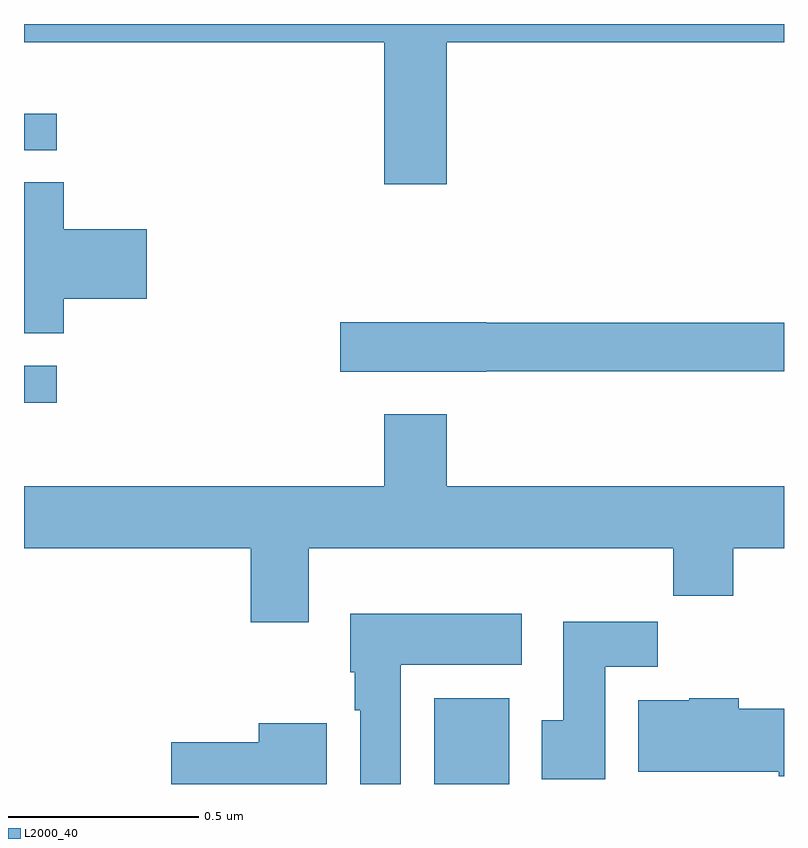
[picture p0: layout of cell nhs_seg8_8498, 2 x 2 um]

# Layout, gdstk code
import gdstk
lib = gdstk.Library(unit=1e-6, precision=1e-09)
def R(c, l, rs):  # rectangles x0, y0, x1, y1
    for r in rs: c.add(gdstk.rectangle(r[:2], r[2:], *l))
def P(c, l, *ps):  # polygons
    for p in ps: c.add(gdstk.Polygon(p, *l))
L2000_40 = (2000, 40)

nhs_seg8_8498 = lib.new_cell('nhs_seg8_8498')
R(nhs_seg8_8498, L2000_40, [(225.08,1095.9,225.277,1096.126), (224,1096.903,224.086,1097.001), (224,1097.568,224.086,1097.664)])
P(nhs_seg8_8498, L2000_40, [(225.112,1097.852),(226,1097.852),(226,1097.9),(224,1097.9),(224,1097.852),(224.948,1097.852),(224.948,1097.478),(225.112,1097.478)],
  [(224.105,1097.177),(224.323,1097.177),(224.323,1097.36),(224.105,1097.36),(224.105,1097.483),(224,1097.483),(224,1097.086),(224.105,1097.086)],
  [(225.216,1096.986),(226,1096.986),(226,1097.114),(225.216,1097.114),(225.216,1097.115),(224.832,1097.115),(224.832,1096.985),(225.216,1096.985)],
  [(224.749,1096.52),(225.709,1096.52),(225.709,1096.396),(225.866,1096.396),(225.866,1096.52),(226,1096.52),(226,1096.684),(225.112,1096.684),(225.112,1096.873),(224.948,1096.873),(224.948,1096.684),(224,1096.684),(224,1096.52),(224.597,1096.52),(224.597,1096.326),(224.749,1096.326)],
  [(224.992,1096.214),(225.31,1096.214),(225.31,1096.348),(224.858,1096.348),(224.858,1096.194),(224.87,1096.194),(224.87,1096.094),(224.885,1096.094),(224.885,1095.9),(224.992,1095.9)],
  [(225.529,1096.208),(225.668,1096.208),(225.668,1096.327),(225.419,1096.327),(225.419,1096.068),(225.362,1096.068),(225.362,1095.912),(225.529,1095.912)],
  [(226,1096.098),(225.881,1096.098),(225.881,1096.126),(225.75,1096.126),(225.75,1096.12),(225.617,1096.12),(225.617,1095.932),(225.986,1095.932),(225.986,1095.92),(226,1095.92)],
  [(224.797,1096.06),(224.618,1096.06),(224.618,1096.01),(224.388,1096.01),(224.388,1095.9),(224.797,1095.9)])

lib.write_gds('nhs_seg8_8498.gds')
